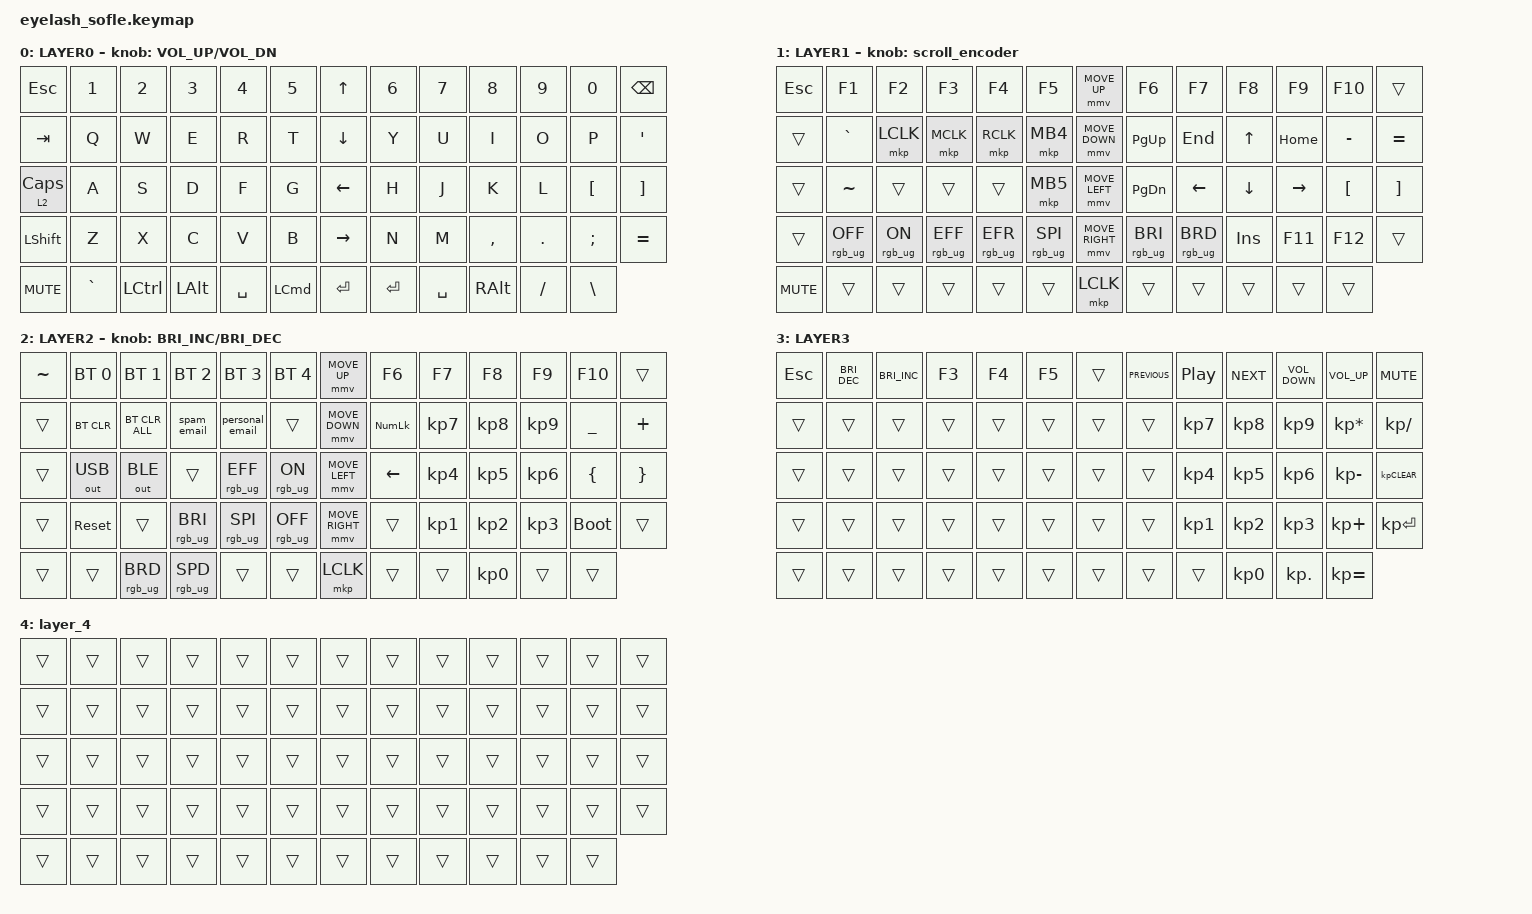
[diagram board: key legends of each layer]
#define ZMK_POINTING_DEFAULT_MOVE_VAL 1200  // 600
#define ZMK_POINTING_DEFAULT_SCRL_VAL 25   // 10

#include <input/processors.dtsi>
#include <zephyr/dt-bindings/input/input-event-codes.h>
#include <behaviors.dtsi>
#include <dt-bindings/zmk/bt.h>
#include <dt-bindings/zmk/keys.h>
#include <dt-bindings/zmk/outputs.h>
#include <dt-bindings/zmk/pointing.h>
#include <dt-bindings/zmk/rgb.h>

&mmv_input_listener { input-processors = <&zip_xy_scaler 2 1>; };

&msc_input_listener { input-processors = <&zip_scroll_scaler 2 1>; };

&msc {
    acceleration-exponent = <1>;      // 0
    time-to-max-speed-ms = <100>;       // 300
    delay-ms = <0>;                   // 0
};

&mmv {
    time-to-max-speed-ms = <500>;
    acceleration-exponent = <1>;
    trigger-period-ms = <16>;
};

/ {
    macros {
        personal_email: personal_email {
            compatible = "zmk,behavior-macro";
            label = "PERSONAL_EMAIL";
            #binding-cells = <0>;
            bindings = <&kp P &kp E &kp R &kp S &kp O &kp N &kp A &kp L &kp E &kp M &kp A &kp I &kp L &kp AT &kp G &kp M &kp A &kp I &kp L &kp DOT &kp C &kp O &kp M>;
        };

        spam_email: spam_email {
            compatible = "zmk,behavior-macro";
            label = "SPAM_EMAIL";
            #binding-cells = <0>;
            bindings = <&kp S &kp P &kp A &kp M &kp E &kp M &kp A &kp I &kp L &kp AT &kp G &kp M &kp A &kp I &kp L &kp DOT &kp C &kp O &kp M>;
        };
    };

    scroll_encoder: scroll_encoder {
        compatible = "zmk,behavior-sensor-rotate";
        #sensor-binding-cells = <0>;
        bindings = <&msc SCRL_DOWN>, <&msc SCRL_UP>;

        tap-ms = <100>;
    };

    behaviors {
    };

    keymap {
        compatible = "zmk,keymap";

        layer0 {
            bindings = <
&kp ESC         &kp N1     &kp N2            &kp N3        &kp N4     &kp N5              &kp UP_ARROW     &kp N6     &kp N7     &kp N8         &kp N9    &kp N0         &kp BACKSPACE
&kp TAB         &kp Q      &kp W             &kp E         &kp R      &kp T               &kp DOWN_ARROW   &kp Y      &kp U      &kp I          &kp O     &kp P          &kp APOS
&lt 2 CAPSLOCK  &kp A      &kp S             &kp D         &kp F      &kp G               &kp LEFT_ARROW   &kp H      &kp J      &kp K          &kp L     &kp LBKT       &kp RBKT
&kp LEFT_SHIFT  &kp Z      &kp X             &kp C         &kp V      &kp B               &kp RIGHT_ARROW  &kp N      &kp M      &kp COMMA      &kp DOT   &kp SEMI       &kp EQUAL
&kp C_MUTE      &kp GRAVE  &kp LEFT_CONTROL  &kp LEFT_ALT  &kp SPACE  &kp LEFT_COMMAND    &kp ENTER        &kp ENTER  &kp SPACE  &kp RIGHT_ALT  &kp FSLH  &kp BACKSLASH
            >;

            sensor-bindings = <&inc_dec_kp C_VOLUME_UP C_VOL_DN>;
            display-name = "LAYER0";
        };

        layer_1 {
            bindings = <
&kp ESC     &kp F1           &kp F2          &kp F3           &kp F4           &kp F5             &mmv MOVE_UP     &kp F6           &kp F7           &kp F8      &kp F9     &kp F10           &trans
&trans      &kp GRAVE        &mkp LCLK       &mkp MCLK        &mkp RCLK        &mkp MB4           &mmv MOVE_DOWN   &kp PG_UP        &kp END          &kp UP      &kp HOME   &kp MINUS         &kp EQUAL
&trans      &kp TILDE        &trans          &trans           &trans           &mkp MB5           &mmv MOVE_LEFT   &kp PG_DN        &kp LEFT         &kp DOWN    &kp RIGHT  &kp LEFT_BRACKET  &kp RIGHT_BRACKET
&trans      &rgb_ug RGB_OFF  &rgb_ug RGB_ON  &rgb_ug RGB_EFF  &rgb_ug RGB_EFR  &rgb_ug RGB_SPI    &mmv MOVE_RIGHT  &rgb_ug RGB_BRI  &rgb_ug RGB_BRD  &kp INSERT  &kp F11    &kp F12           &trans
&kp C_MUTE  &trans           &trans          &trans           &trans           &trans             &mkp LCLK        &trans           &trans           &trans      &trans     &trans
            >;

            display-name = "LAYER1";
            sensor-bindings = <&scroll_encoder>;
        };

        layer_2 {
            bindings = <
&kp TILDE  &bt BT_SEL 0  &bt BT_SEL 1     &bt BT_SEL 2     &bt BT_SEL 3     &bt BT_SEL 4       &mmv MOVE_UP     &kp F6          &kp F7           &kp F8           &kp F9           &kp F10      &trans
&trans     &bt BT_CLR    &bt BT_CLR_ALL   &spam_email      &personal_email  &trans             &mmv MOVE_DOWN   &kp KP_NUMLOCK  &kp KP_NUMBER_7  &kp KP_NUMBER_8  &kp KP_NUMBER_9  &kp UNDER    &kp PLUS
&trans     &out OUT_USB  &out OUT_BLE     &trans           &rgb_ug RGB_EFF  &rgb_ug RGB_ON     &mmv MOVE_LEFT   &kp LEFT_ARROW  &kp KP_NUMBER_4  &kp KP_NUMBER_5  &kp KP_NUMBER_6  &kp LBRC     &kp RBRC
&trans     &sys_reset    &trans           &rgb_ug RGB_BRI  &rgb_ug RGB_SPI  &rgb_ug RGB_OFF    &mmv MOVE_RIGHT  &trans          &kp KP_NUMBER_1  &kp KP_NUMBER_2  &kp KP_NUMBER_3  &bootloader  &trans
&trans     &trans        &rgb_ug RGB_BRD  &rgb_ug RGB_SPD  &trans           &trans             &mkp LCLK        &trans          &trans           &kp KP_NUMBER_0  &trans           &trans
            >;

            display-name = "LAYER2";
            sensor-bindings = <&inc_dec_kp C_BRIGHTNESS_INC C_BRIGHTNESS_DEC>;
        };

        layer_3 {
            bindings = <
&kp ESC  &kp C_BRIGHTNESS_DEC  &kp C_BRIGHTNESS_INC  &kp F3  &kp F4  &kp F5    &trans  &kp C_PREVIOUS  &kp C_PLAY_PAUSE  &kp C_NEXT       &kp K_VOLUME_DOWN  &kp K_VOLUME_UP  &kp K_MUTE
&trans   &trans                &trans                &trans  &trans  &trans    &trans  &trans          &kp KP_NUMBER_7   &kp KP_NUMBER_8  &kp KP_NUMBER_9    &kp KP_MULTIPLY  &kp KP_DIVIDE
&trans   &trans                &trans                &trans  &trans  &trans    &trans  &trans          &kp KP_NUMBER_4   &kp KP_NUMBER_5  &kp KP_NUMBER_6    &kp KP_MINUS     &kp KP_CLEAR
&trans   &trans                &trans                &trans  &trans  &trans    &trans  &trans          &kp KP_NUMBER_1   &kp KP_NUMBER_2  &kp KP_NUMBER_3    &kp KP_PLUS      &kp KP_ENTER
&trans   &trans                &trans                &trans  &trans  &trans    &trans  &trans          &trans            &kp KP_NUMBER_0  &kp KP_DOT         &kp KP_EQUAL
            >;

            display-name = "LAYER3";
        };

        layer_4 {
            bindings = <
&trans  &trans  &trans  &trans  &trans  &trans    &trans  &trans  &trans  &trans  &trans  &trans  &trans
&trans  &trans  &trans  &trans  &trans  &trans    &trans  &trans  &trans  &trans  &trans  &trans  &trans
&trans  &trans  &trans  &trans  &trans  &trans    &trans  &trans  &trans  &trans  &trans  &trans  &trans
&trans  &trans  &trans  &trans  &trans  &trans    &trans  &trans  &trans  &trans  &trans  &trans  &trans
&trans  &trans  &trans  &trans  &trans  &trans    &trans  &trans  &trans  &trans  &trans  &trans
            >;
        };
    };
};
